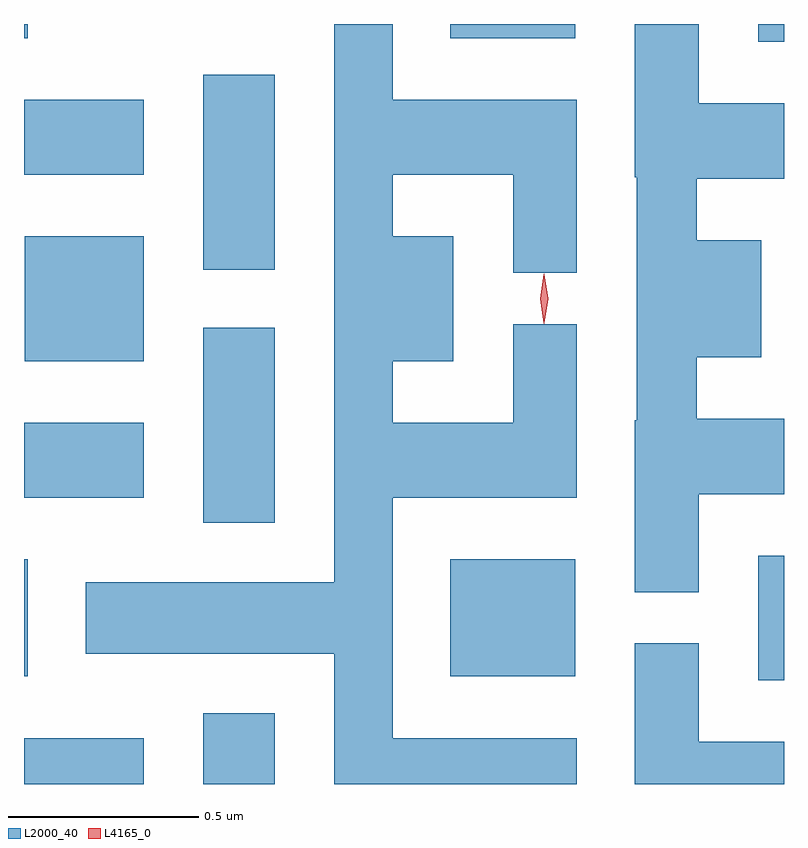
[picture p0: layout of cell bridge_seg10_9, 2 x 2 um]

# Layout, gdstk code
import gdstk
lib = gdstk.Library(unit=1e-6, precision=1e-09)
def R(c, l, rs):  # rectangles x0, y0, x1, y1
    for r in rs: c.add(gdstk.rectangle(r[:2], r[2:], *l))
def P(c, l, *ps):  # polygons
    for p in ps: c.add(gdstk.Polygon(p, *l))
L2000_40 = (2000, 40)
L4165_0 = (4165, 0)

bridge_seg10_9 = lib.new_cell('bridge_seg10_9')
R(bridge_seg10_9, L2000_40, [(1911.424,2167.893,1911.739,2168.014), (1911.896,2167.893,1912.084,2168.079), (1913.356,2168.166,1913.424,2168.494), (1911.424,2168.176,1911.434,2168.484), (1912.546,2168.176,1912.874,2168.484), (1911.896,2168.581,1912.084,2169.094), (1911.424,2168.646,1911.739,2168.844), (1911.426,2169.006,1911.739,2169.334), (1911.896,2169.246,1912.084,2169.759), (1911.424,2169.496,1911.739,2169.694), (1913.356,2169.846,1913.424,2169.893), (1911.424,2169.856,1911.434,2169.893), (1912.546,2169.856,1912.874,2169.893)])
P(bridge_seg10_9, L2000_40, [(1912.879,2168.014),(1912.394,2168.014),(1912.394,2168.646),(1912.879,2168.646),(1912.879,2169.103),(1912.711,2169.103),(1912.711,2168.844),(1912.394,2168.844),(1912.394,2169.006),(1912.554,2169.006),(1912.554,2169.334),(1912.394,2169.334),(1912.394,2169.496),(1912.711,2169.496),(1912.711,2169.238),(1912.879,2169.238),(1912.879,2169.694),(1912.394,2169.694),(1912.394,2169.893),(1912.241,2169.893),(1912.241,2168.424),(1911.586,2168.424),(1911.586,2168.236),(1912.241,2168.236),(1912.241,2167.893),(1912.879,2167.893)],
  [(1913.199,2168.656),(1913.424,2168.656),(1913.424,2168.854),(1913.194,2168.854),(1913.194,2169.016),(1913.364,2169.016),(1913.364,2169.324),(1913.194,2169.324),(1913.194,2169.486),(1913.424,2169.486),(1913.424,2169.684),(1913.199,2169.684),(1913.199,2169.893),(1913.031,2169.893),(1913.031,2169.49),(1913.036,2169.49),(1913.036,2168.85),(1913.031,2168.85),(1913.031,2168.398),(1913.199,2168.398)],
  [(1913.424,2168.004),(1913.199,2168.004),(1913.199,2168.263),(1913.031,2168.263),(1913.031,2167.893),(1913.424,2167.893)])
P(bridge_seg10_9, L4165_0, [(1912.793,2169.104),(1912.792,2169.105),(1912.783,2169.17),(1912.792,2169.235),(1912.793,2169.236),(1912.793,2169.235),(1912.803,2169.17),(1912.793,2169.105)])

lib.write_gds('bridge_seg10_9.gds')
